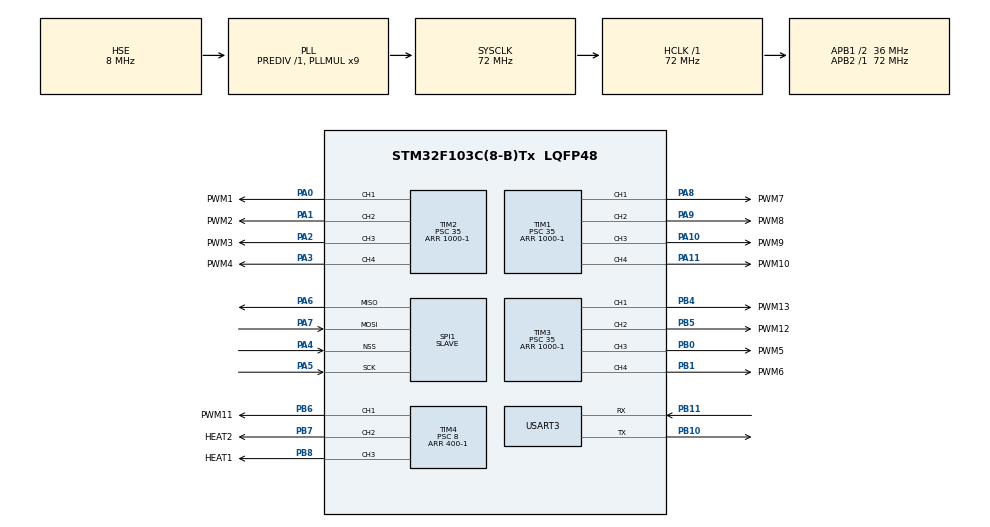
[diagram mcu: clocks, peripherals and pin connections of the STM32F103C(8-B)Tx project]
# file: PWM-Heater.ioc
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Mcu.Family=STM32F1
Mcu.Name=STM32F103C(8-B)Tx
Mcu.Package=LQFP48
NVIC.PriorityGroup=NVIC_PRIORITYGROUP_4
PA0-WKUP.GPIO_Label=PWM1
PA0-WKUP.GPIO_Speed=GPIO_SPEED_FREQ_HIGH
PA0-WKUP.Signal=S_TIM2_CH1_ETR
PA1.GPIO_Label=PWM2
PA1.GPIO_Speed=GPIO_SPEED_FREQ_HIGH
PA1.Signal=S_TIM2_CH2
PA10.GPIO_Label=PWM9
PA10.GPIO_Speed=GPIO_SPEED_FREQ_HIGH
PA10.Signal=S_TIM1_CH3
PA11.GPIO_Label=PWM10
PA11.GPIO_Speed=GPIO_SPEED_FREQ_HIGH
PA11.Signal=S_TIM1_CH4
PA13.Mode=Serial_Wire
PA13.Signal=SYS_JTMS-SWDIO
PA14.Mode=Serial_Wire
PA14.Signal=SYS_JTCK-SWCLK
PA2.GPIO_Label=PWM3
PA2.GPIO_Speed=GPIO_SPEED_FREQ_HIGH
PA2.Signal=S_TIM2_CH3
PA3.GPIO_Label=PWM4
PA3.GPIO_Speed=GPIO_SPEED_FREQ_HIGH
PA3.Signal=S_TIM2_CH4
PA4.Mode=NSS_Signal_Hard_Input
PA4.Signal=SPI1_NSS
PA5.Mode=Full_Duplex_Slave
PA5.Signal=SPI1_SCK
PA6.Mode=Full_Duplex_Slave
PA6.Signal=SPI1_MISO
PA7.Mode=Full_Duplex_Slave
PA7.Signal=SPI1_MOSI
PA8.GPIO_Label=PWM7
PA8.GPIO_Speed=GPIO_SPEED_FREQ_HIGH
PA8.Signal=S_TIM1_CH1
PA9.GPIO_Label=PWM8
PA9.GPIO_Speed=GPIO_SPEED_FREQ_HIGH
PA9.Signal=S_TIM1_CH2
PB0.GPIO_Label=PWM5
PB0.GPIO_Speed=GPIO_SPEED_FREQ_HIGH
PB0.Signal=S_TIM3_CH3
PB1.GPIO_Label=PWM6
PB1.GPIO_Speed=GPIO_SPEED_FREQ_HIGH
PB1.Signal=S_TIM3_CH4
PB10.Mode=Asynchronous
PB10.Signal=USART3_TX
PB11.Mode=Asynchronous
PB11.Signal=USART3_RX
PB4.GPIO_Label=PWM13
PB4.GPIO_Speed=GPIO_SPEED_FREQ_HIGH
PB4.Signal=S_TIM3_CH1
PB5.GPIO_Label=PWM12
PB5.GPIO_Speed=GPIO_SPEED_FREQ_HIGH
PB5.Signal=S_TIM3_CH2
PB6.GPIO_Label=PWM11
PB6.GPIO_Speed=GPIO_SPEED_FREQ_HIGH
PB6.Signal=S_TIM4_CH1
PB7.GPIO_Label=HEAT2
PB7.GPIO_Speed=GPIO_SPEED_FREQ_HIGH
PB7.Signal=S_TIM4_CH2
PB8.GPIO_Label=HEAT1
PB8.GPIO_Speed=GPIO_SPEED_FREQ_HIGH
PB8.Signal=S_TIM4_CH3
PD0-OSC_IN.Mode=HSE-External-Oscillator
PD0-OSC_IN.Signal=RCC_OSC_IN
PD1-OSC_OUT.Mode=HSE-External-Oscillator
PD1-OSC_OUT.Signal=RCC_OSC_OUT
ProjectManager.HeapSize=0x200
ProjectManager.StackSize=0x400
ProjectManager.TargetToolchain=CMake
RCC.AHBFreq_Value=72000000
RCC.APB1CLKDivider=RCC_HCLK_DIV2
RCC.APB1Freq_Value=36000000
RCC.APB1TimFreq_Value=72000000
RCC.APB2Freq_Value=72000000
RCC.APB2TimFreq_Value=72000000
RCC.HCLKFreq_Value=72000000
RCC.PLLMUL=RCC_PLL_MUL9
RCC.PLLSourceVirtual=RCC_PLLSOURCE_HSE
RCC.SYSCLKFreq_VALUE=72000000
RCC.SYSCLKSource=RCC_SYSCLKSOURCE_PLLCLK
RCC.USBFreq_Value=72000000
SH.S_TIM1_CH1.0=TIM1_CH1,PWM Generation1 CH1
SH.S_TIM1_CH2.0=TIM1_CH2,PWM Generation2 CH2
SH.S_TIM1_CH3.0=TIM1_CH3,PWM Generation3 CH3
SH.S_TIM1_CH4.0=TIM1_CH4,PWM Generation4 CH4
SH.S_TIM2_CH1_ETR.0=TIM2_CH1,PWM Generation1 CH1
SH.S_TIM2_CH2.0=TIM2_CH2,PWM Generation2 CH2
SH.S_TIM2_CH3.0=TIM2_CH3,PWM Generation3 CH3
SH.S_TIM2_CH4.0=TIM2_CH4,PWM Generation4 CH4
SH.S_TIM3_CH1.0=TIM3_CH1,PWM Generation1 CH1
SH.S_TIM3_CH2.0=TIM3_CH2,PWM Generation2 CH2
SH.S_TIM3_CH3.0=TIM3_CH3,PWM Generation3 CH3
SH.S_TIM3_CH4.0=TIM3_CH4,PWM Generation4 CH4
SH.S_TIM4_CH1.0=TIM4_CH1,PWM Generation1 CH1
SH.S_TIM4_CH2.0=TIM4_CH2,PWM Generation2 CH2
SH.S_TIM4_CH3.0=TIM4_CH3,PWM Generation3 CH3
SPI1.Direction=SPI_DIRECTION_2LINES
SPI1.Mode=SPI_MODE_SLAVE
SPI1.VirtualNSS=VM_NSSHARD
SPI1.VirtualType=VM_SLAVE
TIM1.Channel-PWM\ Generation1\ CH1=TIM_CHANNEL_1
TIM1.Channel-PWM\ Generation2\ CH2=TIM_CHANNEL_2
TIM1.Channel-PWM\ Generation3\ CH3=TIM_CHANNEL_3
TIM1.Channel-PWM\ Generation4\ CH4=TIM_CHANNEL_4
TIM1.Period=1000-1
TIM1.Prescaler=35
TIM2.Channel-PWM\ Generation1\ CH1=TIM_CHANNEL_1
TIM2.Channel-PWM\ Generation2\ CH2=TIM_CHANNEL_2
TIM2.Channel-PWM\ Generation3\ CH3=TIM_CHANNEL_3
TIM2.Channel-PWM\ Generation4\ CH4=TIM_CHANNEL_4
TIM2.Period=1000-1
TIM2.Prescaler=35
TIM3.Channel-PWM\ Generation1\ CH1=TIM_CHANNEL_1
TIM3.Channel-PWM\ Generation2\ CH2=TIM_CHANNEL_2
TIM3.Channel-PWM\ Generation3\ CH3=TIM_CHANNEL_3
TIM3.Channel-PWM\ Generation4\ CH4=TIM_CHANNEL_4
TIM3.Period=1000-1
TIM3.Prescaler=35
TIM4.AutoReloadPreload=TIM_AUTORELOAD_PRELOAD_ENABLE
TIM4.Channel-PWM\ Generation1\ CH1=TIM_CHANNEL_1
TIM4.Channel-PWM\ Generation2\ CH2=TIM_CHANNEL_2
TIM4.Channel-PWM\ Generation3\ CH3=TIM_CHANNEL_3
TIM4.Period=400-1
TIM4.Prescaler=8
USART3.VirtualMode=VM_ASYNC
VP_TIM1_VS_ClockSourceINT.Mode=Internal
VP_TIM2_VS_ClockSourceINT.Mode=Internal
VP_TIM3_VS_ClockSourceINT.Mode=Internal
VP_TIM4_VS_ClockSourceINT.Mode=Internal
board=custom

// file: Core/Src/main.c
/* USER CODE BEGIN Header */
/**
  ******************************************************************************
  * @file           : main.c
  * @brief          : Main program body
  ******************************************************************************
  * @attention
  *
  * Copyright (c) 2026 STMicroelectronics.
  * All rights reserved.
  *
  * This software is licensed under terms that can be found in the LICENSE file
  * in the root directory of this software component.
  * If no LICENSE file comes with this software, it is provided AS-IS.
  *
  ******************************************************************************
  */
/* USER CODE END Header */
#include "main.h"
#include "spi.h"
#include "tim.h"
#include "usart.h"
#include "gpio.h"

/* USER CODE BEGIN Includes */
#include "app_debug.h"
#include "app_perf.h"
#include "app_spi_link.h"
#include "board_pwm.h"
/* USER CODE END Includes */

void SystemClock_Config(void);

int main(void)
{

  /* MCU Configuration--------------------------------------------------------*/

  /* Reset of all peripherals, Initializes the Flash interface and the Systick. */
  HAL_Init();

  /* Configure the system clock */
  SystemClock_Config();

  /* Initialize all configured peripherals */
  MX_GPIO_Init();
  MX_SPI1_Init();
  MX_TIM1_Init();
  MX_TIM2_Init();
  MX_TIM3_Init();
  MX_TIM4_Init();
  MX_USART3_UART_Init();
  /* USER CODE BEGIN 2 */
  uint32_t now_ms;
  uint32_t last_perf_ms;
  uint32_t last_debug_ms;

  app_debug_init();
  board_pwm_init();
  app_perf_init(HAL_GetTick());
  app_spi_link_init(HAL_GetTick());

  now_ms = HAL_GetTick();
  last_perf_ms = now_ms;
  last_debug_ms = now_ms;

  app_debug_printf("[app] outputs forced off until SPI HELLO\r\n");
  /* USER CODE END 2 */

  /* Infinite loop */
  while (1)
  {

    /* USER CODE BEGIN 3 */
    now_ms = HAL_GetTick();
    app_spi_link_poll(now_ms);

    if ((now_ms - last_perf_ms) >= 10U)
    {
      last_perf_ms = now_ms;
      app_perf_tick(now_ms);
    }

    if ((now_ms - last_debug_ms) >= 5000U)
    {
      last_debug_ms = now_ms;
      app_debug_printf(
          "[app] link=%u temp=%ldmC age=%ums valid=%u active=0x%lX\r\n",
          app_spi_link_is_active() ? 1U : 0U,
          (long)app_spi_link_temp_mc(),
          (unsigned int)app_spi_link_temp_age_ms(now_ms),
          app_spi_link_temp_valid(now_ms) ? 1U : 0U,
          (unsigned long)app_perf_active_mask());
    }
  }
  /* USER CODE END 3 */
}

void SystemClock_Config(void)
{
  RCC_OscInitTypeDef RCC_OscInitStruct = {0};
  RCC_ClkInitTypeDef RCC_ClkInitStruct = {0};

  /** Initializes the RCC Oscillators according to the specified parameters
  * in the RCC_OscInitTypeDef structure.
  */
  RCC_OscInitStruct.OscillatorType = RCC_OSCILLATORTYPE_HSE;
  RCC_OscInitStruct.HSEState = RCC_HSE_ON;
  RCC_OscInitStruct.HSEPredivValue = RCC_HSE_PREDIV_DIV1;
  RCC_OscInitStruct.HSIState = RCC_HSI_ON;
  RCC_OscInitStruct.PLL.PLLState = RCC_PLL_ON;
  RCC_OscInitStruct.PLL.PLLSource = RCC_PLLSOURCE_HSE;
  RCC_OscInitStruct.PLL.PLLMUL = RCC_PLL_MUL9;
  if (HAL_RCC_OscConfig(&RCC_OscInitStruct) != HAL_OK)
  {
    Error_Handler();
  }

  /** Initializes the CPU, AHB and APB buses clocks
  */
  RCC_ClkInitStruct.ClockType = RCC_CLOCKTYPE_HCLK|RCC_CLOCKTYPE_SYSCLK
                              |RCC_CLOCKTYPE_PCLK1|RCC_CLOCKTYPE_PCLK2;
  RCC_ClkInitStruct.SYSCLKSource = RCC_SYSCLKSOURCE_PLLCLK;
  RCC_ClkInitStruct.AHBCLKDivider = RCC_SYSCLK_DIV1;
  RCC_ClkInitStruct.APB1CLKDivider = RCC_HCLK_DIV2;
  RCC_ClkInitStruct.APB2CLKDivider = RCC_HCLK_DIV1;

  if (HAL_RCC_ClockConfig(&RCC_ClkInitStruct, FLASH_LATENCY_2) != HAL_OK)
  {
    Error_Handler();
  }
}

void Error_Handler(void)
{
  __disable_irq();
  while (1)
  {
  }
}
